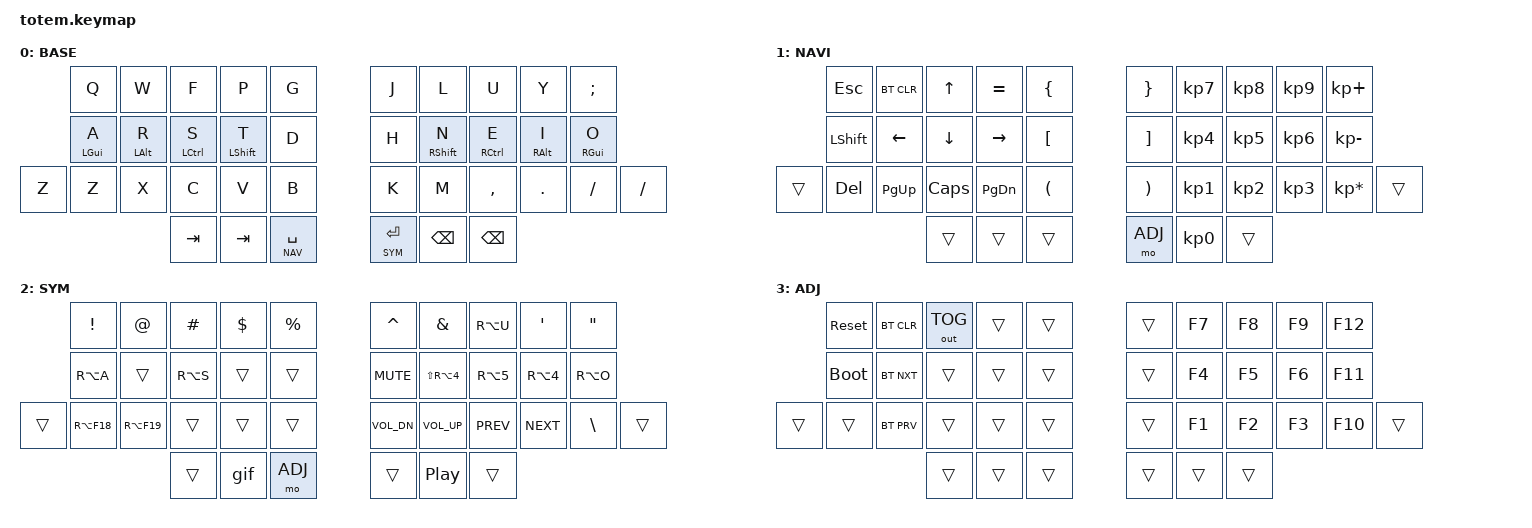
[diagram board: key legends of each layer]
//
//                                                        ▀▀▀▀▀     ▀▀▀▀▀          ▀▀█▀▀
//                                                        ▄▀▀▀▄  ▄  ▄▀▀▀▄  ▄  ▄▀▀▀▄  █  ▄▀▀▀▄
//                                                        █   █  █  █   █  █  █   █  █  █   █
//                                                         ▀▀▀   █   ▀▀▀   █   ▀▀▀   ▀   ▀▀▀
//                                                               █      ▄▄▄█▄▄▄    █   █  
//                                                               ▀      █  █  █     █▄█
//                                                             ▀▀▀▀▀    █  █  █      ▀
//                                                                      ▀  ▀  ▀
//
// ▄▄▄▄▄▄▄▄▄▄▄▄▄▄▄▄▄▄▄▄▄▄▄▄▄▄▄▄▄▄▄▄▄▄▄▄▄▄▄▄▄▄▄▄▄▄▄▄▄▄▄▄▄▄▄▄▄▄▄▄▄▄▄▄▄▄▄▄▄▄▄▄▄▄▄▄▄▄▄▄▄▄▄▄▄▄▄▄▄▄▄▄▄▄▄▄▄▄▄▄▄▄▄▄▄▄▄▄▄▄▄▄▄▄▄▄▄▄▄▄▄▄▄▄▄▄▄▄▄▄▄▄▄▄▄▄▄▄▄▄▄▄▄▄▄▄▄▄▄
       

#include <behaviors.dtsi>
#include <dt-bindings/zmk/keys.h>
#include <dt-bindings/zmk/bt.h>
#include <dt-bindings/zmk/outputs.h>

#define BASE 0
#define NAV  1
#define SYM  2
#define ADJ  3

#define LEFT_KEYS  0 1 2 3 4 10 11 12 13 14 20 21 22 23 24 25 32 33 34
#define RIGHT_KEYS 5 6 7 8 9 15 16 17 18 19 26 27 28 29 30 31 35 36 37
#define QUICK_TAP_MS 175

&mt {
  quick-tap-ms = <QUICK_TAP_MS>;
  global-quick-tap;
  flavor = "balanced";
  tapping-term-ms = <200>;
  require-prior-idle-ms = <150>;
};

/ {
    behaviors {
        lmt: left_mod_tap {
            compatible = "zmk,behavior-hold-tap";
            label = "LEFT_MOD_TAP";
            #binding-cells = <2>;
            flavor = "balanced";
            tapping-term-ms = <200>;
            quick-tap-ms = <QUICK_TAP_MS>;
            global-quick-tap;
            require-prior-idle-ms = <150>;
            hold-trigger-on-release;
            hold-trigger-key-positions = <RIGHT_KEYS>;
            bindings = <&kp>, <&kp>;
        };

        rmt: right_mod_tap {
            compatible = "zmk,behavior-hold-tap";
            label = "RIGHT_MOD_TAP";
            #binding-cells = <2>;
            flavor = "balanced";
            tapping-term-ms = <200>;
            quick-tap-ms = <QUICK_TAP_MS>;
            global-quick-tap;
            require-prior-idle-ms = <150>;
            hold-trigger-on-release;
            hold-trigger-key-positions = <LEFT_KEYS>;
            bindings = <&kp>, <&kp>;
        };
    };

    combos {
            compatible = "zmk,combos";
            combo_esc {
                timeout-ms = <50>;
                key-positions = <0 1>;
                bindings = <&kp ESC>;
            };
    };

    macros {
        gif: gif {
            label = "giphy";
            compatible = "zmk,behavior-macro";
            #binding-cells = <0>;
            bindings
                = <&macro_press &kp LSHFT>
                , <&macro_tap &kp N2>
                , <&macro_release &kp LSHFT>
                , <&macro_tap &kp G &kp I &kp F>
                ;
        };
    };

        keymap {
                compatible = "zmk,keymap";
// ▄▄▄▄▄▄▄▄▄▄▄▄▄▄▄▄▄▄▄▄▄▄▄▄▄▄▄▄▄▄▄▄▄▄▄▄▄▄▄▄▄▄▄▄▄▄▄▄▄▄▄▄▄▄▄▄▄▄▄▄▄▄▄▄▄▄▄▄▄▄▄▄▄▄▄▄▄▄▄▄▄▄▄▄▄▄▄▄▄▄▄▄▄▄▄▄▄▄▄▄▄▄▄▄▄▄▄▄▄▄▄▄▄▄▄▄▄▄▄▄▄▄▄▄▄▄▄▄▄▄▄▄▄▄▄▄▄▄▄▄▄▄▄▄▄▄▄▄▄

                base_layer {
// ┏━━━━━━━━━━━━━━━━━━━━━━━━━━━━━━━━━━━━━━━┓
label= "BASE"                              ;
// ┗━━━━━━━━━━━━━━━━━━━━━━━━━━━━━━━━━━━━━━━┛
//             ┏━━━━━━━━━━━┳━━━━━━━━━━━┳━━━━━━━━━━━┳━━━━━━━━━━━┳━━━━━━━━━━━┓   ┏━━━━━━━━━━━┳━━━━━━━━━━━┳━━━━━━━━━━━┳━━━━━━━━━━━┳━━━━━━━━━━━┓
//             ┃     Q     ┃     W     ┃     F     ┃     P     ┃     G     ┃   ┃     J     ┃     L     ┃     U     ┃     Y     ┃     ;     ┃
//             ┣━━━━━━━━━━━╋━━━━━━━━━━━╋━━━━━━━━━━━╋━━━━━━━━━━━╋━━━━━━━━━━━┫   ┣━━━━━━━━━━━╋━━━━━━━━━━━╋━━━━━━━━━━━╋━━━━━━━━━━━╋━━━━━━━━━━━┫
//             ┃     A     ┃     R     ┃     S     ┃     T     ┃     D     ┃   ┃     H     ┃     N     ┃     E     ┃     I     ┃     O     ┃
// ┏━━━━━━━━━━━╋━━━━━━━━━━━╋━━━━━━━━━━━╋━━━━━━━━━━━╋━━━━━━━━━━━╋━━━━━━━━━━━┫   ┣━━━━━━━━━━━╋━━━━━━━━━━━╋━━━━━━━━━━━╋━━━━━━━━━━━╋━━━━━━━━━━━╋━━━━━━━━━━━┓
// ┃           ┃     Z     ┃     X     ┃     C     ┃     V     ┃     B     ┃   ┃     K     ┃     M     ┃     ,     ┃     .     ┃     /     ┃           ┃
// ┗━━━━━━━━━━━┻━━━━━━━━━━━┻━━━━━━━━━━━╋━━━━━━━━━━━╋━━━━━━━━━━━╋━━━━━━━━━━━┫   ┣━━━━━━━━━━━╋━━━━━━━━━━━╋━━━━━━━━━━━╋━━━━━━━━━━━┻━━━━━━━━━━━┻━━━━━━━━━━━┛
//                                     ┃           ┃    TAB    ┃    SPC    ┃   ┃   ENTER   ┃   BSPC    ┃           ┃
//                                     ┗━━━━━━━━━━━┻━━━━━━━━━━━┻━━━━━━━━━━━┛   ┗━━━━━━━━━━━┻━━━━━━━━━━━┻━━━━━━━━━━━┛
 bindings = <
// ╷           ╷           ╷           ╷           ╷           ╷           ╷   ╷           ╷           ╷           ╷           ╷           ╷           ╷

                &kp Q       &kp W       &kp F       &kp P       &kp G           &kp J       &kp L       &kp U       &kp Y       &kp SEMI
                &lmt LGUI A &lmt LALT R &lmt LCTRL S &lmt LSHFT T &kp D          &kp H       &rmt RSHFT N &rmt RCTRL E &rmt RALT I &rmt RGUI O
    &kp Z       &kp Z       &kp X       &kp C       &kp V       &kp B           &kp K       &kp M       &kp COMMA   &kp DOT     &kp FSLH    &kp FSLH
                                        &kp TAB     &kp TAB     &lt NAV SPACE   &lt SYM RET &kp BSPC    &kp BSPC
                        >;
                };

// ▄▄▄▄▄▄▄▄▄▄▄▄▄▄▄▄▄▄▄▄▄▄▄▄▄▄▄▄▄▄▄▄▄▄▄▄▄▄▄▄▄▄▄▄▄▄▄▄▄▄▄▄▄▄▄▄▄▄▄▄▄▄▄▄▄▄▄▄▄▄▄▄▄▄▄▄▄▄▄▄▄▄▄▄▄▄▄▄▄▄▄▄▄▄▄▄▄▄▄▄▄▄▄▄▄▄▄▄▄▄▄▄▄▄▄▄▄▄▄▄▄▄▄▄▄▄▄▄▄▄▄▄▄▄▄▄▄▄▄▄▄▄▄▄▄▄▄▄▄


                nav_layer {
// ┏━━━━━━━━━━━━━━━━━━━━━━━━━━━━━━━━━━━━━━━┓
label= "NAVI"                              ;
// ┗━━━━━━━━━━━━━━━━━━━━━━━━━━━━━━━━━━━━━━━┛
//             ┏━━━━━━━━━━━┳━━━━━━━━━━━┳━━━━━━━━━━━┳━━━━━━━━━━━┳━━━━━━━━━━━┓   ┏━━━━━━━━━━━┳━━━━━━━━━━━┳━━━━━━━━━━━┳━━━━━━━━━━━┳━━━━━━━━━━━┓
//             ┃           ┃           ┃     UP    ┃           ┃     {     ┃   ┃     }     ┃     7     ┃     8     ┃     9     ┃     +     ┃
//             ┣━━━━━━━━━━━╋━━━━━━━━━━━╋━━━━━━━━━━━╋━━━━━━━━━━━╋━━━━━━━━━━━┫   ┣━━━━━━━━━━━╋━━━━━━━━━━━╋━━━━━━━━━━━╋━━━━━━━━━━━╋━━━━━━━━━━━┫
//             ┃   SHIFT   ┃   LEFT    ┃    DOWN   ┃   RIGHT   ┃     [     ┃   ┃     ]     ┃     4     ┃     5     ┃     6     ┃     -     ┃
// ┏━━━━━━━━━━━╋━━━━━━━━━━━╋━━━━━━━━━━━╋━━━━━━━━━━━╋━━━━━━━━━━━╋━━━━━━━━━━━┫   ┣━━━━━━━━━━━╋━━━━━━━━━━━╋━━━━━━━━━━━╋━━━━━━━━━━━╋━━━━━━━━━━━╋━━━━━━━━━━━┓
// ┃           ┃           ┃   P UP    ┃  C LOCK   ┃  P DOWN   ┃     (     ┃   ┃     )     ┃     1     ┃     2     ┃     3     ┃     *     ┃           ┃
// ┗━━━━━━━━━━━┻━━━━━━━━━━━┻━━━━━━━━━━━╋━━━━━━━━━━━╋━━━━━━━━━━━╋━━━━━━━━━━━┫   ┣━━━━━━━━━━━╋━━━━━━━━━━━╋━━━━━━━━━━━╋━━━━━━━━━━━┻━━━━━━━━━━━┻━━━━━━━━━━━┛
//                                     ┃           ┃    TAB    ┃    SPC    ┃   ┃    DEL    ┃     0     ┃           ┃
//                                     ┗━━━━━━━━━━━┻━━━━━━━━━━━┻━━━━━━━━━━━┛   ┗━━━━━━━━━━━┻━━━━━━━━━━━┻━━━━━━━━━━━┛
 bindings = <
// ╷           ╷           ╷           ╷           ╷           ╷           ╷   ╷           ╷           ╷           ╷           ╷           ╷           ╷

                &kp ESC     &bt BT_CLR  &kp UP      &kp EQUAL   &kp LBRC        &kp RBRC    &kp KP_N7   &kp KP_N8   &kp KP_N9   &kp KP_PLUS
                &kp LSHFT   &kp LEFT    &kp DOWN    &kp RIGHT   &kp LBKT        &kp RBKT    &kp KP_N4   &kp KP_N5   &kp KP_N6   &kp KP_MINUS
    &trans      &kp DEL     &kp PG_UP   &kp CAPS    &kp PG_DN   &kp LPAR        &kp RPAR    &kp KP_N1   &kp KP_N2   &kp KP_N3   &kp KP_MULTIPLY &trans      
                                        &trans      &trans      &trans          &mo ADJ     &kp KP_N0   &trans      
                        >;
                };

// ▄▄▄▄▄▄▄▄▄▄▄▄▄▄▄▄▄▄▄▄▄▄▄▄▄▄▄▄▄▄▄▄▄▄▄▄▄▄▄▄▄▄▄▄▄▄▄▄▄▄▄▄▄▄▄▄▄▄▄▄▄▄▄▄▄▄▄▄▄▄▄▄▄▄▄▄▄▄▄▄▄▄▄▄▄▄▄▄▄▄▄▄▄▄▄▄▄▄▄▄▄▄▄▄▄▄▄▄▄▄▄▄▄▄▄▄▄▄▄▄▄▄▄▄▄▄▄▄▄▄▄▄▄▄▄▄▄▄▄▄▄▄▄▄▄▄▄▄▄


                sim_layer {
// ┏━━━━━━━━━━━━━━━━━━━━━━━━━━━━━━━━━━━━━━━┓
label= "SYM"                               ;
// ┗━━━━━━━━━━━━━━━━━━━━━━━━━━━━━━━━━━━━━━━┛
//             ┏━━━━━━━━━━━┳━━━━━━━━━━━┳━━━━━━━━━━━┳━━━━━━━━━━━┳━━━━━━━━━━━┓   ┏━━━━━━━━━━━┳━━━━━━━━━━━┳━━━━━━━━━━━┳━━━━━━━━━━━┳━━━━━━━━━━━┓
//             ┃     !     ┃     @     ┃     #     ┃     $     ┃     %     ┃   ┃     ˆ     ┃     &     ┃     Ü     ┃     '     ┃     "     ┃
//             ┣━━━━━━━━━━━╋━━━━━━━━━━━╋━━━━━━━━━━━╋━━━━━━━━━━━╋━━━━━━━━━━━┫   ┣━━━━━━━━━━━╋━━━━━━━━━━━╋━━━━━━━━━━━╋━━━━━━━━━━━╋━━━━━━━━━━━┫
//             ┃     Ä     ┃           ┃    SZ     ┃           ┃           ┃   ┃   MUTE    ┃   YEN     ┃   EURO    ┃  POUND    ┃     Ö     ┃
// ┏━━━━━━━━━━━╋━━━━━━━━━━━╋━━━━━━━━━━━╋━━━━━━━━━━━╋━━━━━━━━━━━╋━━━━━━━━━━━┫   ┣━━━━━━━━━━━╋━━━━━━━━━━━╋━━━━━━━━━━━╋━━━━━━━━━━━╋━━━━━━━━━━━╋━━━━━━━━━━━┓
// ┃           ┃  EMAIL1   ┃  EMAIL2   ┃           ┃           ┃           ┃   ┃   VOL-    ┃   VOL+    ┃   LAST    ┃   NEXT    ┃     \     ┃           ┃
// ┗━━━━━━━━━━━┻━━━━━━━━━━━┻━━━━━━━━━━━╋━━━━━━━━━━━╋━━━━━━━━━━━╋━━━━━━━━━━━┫   ┣━━━━━━━━━━━╋━━━━━━━━━━━╋━━━━━━━━━━━╋━━━━━━━━━━━┻━━━━━━━━━━━┻━━━━━━━━━━━┛
//                                     ┃           ┃    GIF    ┃    ADJ    ┃   ┃           ┃           ┃           ┃
//                                     ┗━━━━━━━━━━━┻━━━━━━━━━━━┻━━━━━━━━━━━┛   ┗━━━━━━━━━━━┻━━━━━━━━━━━┻━━━━━━━━━━━┛
 bindings = <
// ╷           ╷           ╷           ╷           ╷           ╷           ╷   ╷           ╷           ╷           ╷           ╷           ╷           ╷

                &kp EXCL    &kp AT      &kp HASH    &kp DLLR    &kp PRCNT       &kp CARET   &kp AMPS    &kp RA(U)   &kp SQT     &kp DQT       
                &kp RA(A)   &trans      &kp RA(S)   &trans      &trans          &kp C_MUTE  &kp LS(RA(N4)) &kp RA(N5) &kp RA(N4)   &kp RA(O) 
    &trans      &kp RA(F18) &kp RA(F19) &trans      &trans      &trans          &kp C_VOL_DN &kp C_VOL_UP &kp C_PREV &kp C_NEXT  &kp BSLH   &trans         
                                        &trans      &gif        &mo ADJ         &trans      &kp C_PP    &trans      
                        >;
                };

// ▄▄▄▄▄▄▄▄▄▄▄▄▄▄▄▄▄▄▄▄▄▄▄▄▄▄▄▄▄▄▄▄▄▄▄▄▄▄▄▄▄▄▄▄▄▄▄▄▄▄▄▄▄▄▄▄▄▄▄▄▄▄▄▄▄▄▄▄▄▄▄▄▄▄▄▄▄▄▄▄▄▄▄▄▄▄▄▄▄▄▄▄▄▄▄▄▄▄▄▄▄▄▄▄▄▄▄▄▄▄▄▄▄▄▄▄▄▄▄▄▄▄▄▄▄▄▄▄▄▄▄▄▄▄▄▄▄▄▄▄▄▄▄▄▄▄▄▄▄


                adjust_layer {
// ┏━━━━━━━━━━━━━━━━━━━━━━━━━━━━━━━━━━━━━━━┓
label= "ADJ"                               ;
// ┗━━━━━━━━━━━━━━━━━━━━━━━━━━━━━━━━━━━━━━━┛
//             ┏━━━━━━━━━━━┳━━━━━━━━━━━┳━━━━━━━━━━━┳━━━━━━━━━━━┳━━━━━━━━━━━┓   ┏━━━━━━━━━━━┳━━━━━━━━━━━┳━━━━━━━━━━━┳━━━━━━━━━━━┳━━━━━━━━━━━┓
//             ┃   RESET   ┃ BT CLEAR  ┃  OUT TOG  ┃           ┃           ┃   ┃           ┃    F7     ┃    F8     ┃    F9     ┃    F12    ┃
//             ┣━━━━━━━━━━━╋━━━━━━━━━━━╋━━━━━━━━━━━╋━━━━━━━━━━━╋━━━━━━━━━━━┫   ┣━━━━━━━━━━━╋━━━━━━━━━━━╋━━━━━━━━━━━╋━━━━━━━━━━━╋━━━━━━━━━━━┫
//             ┃ BOOTLOAD  ┃ BT NEXT   ┃           ┃           ┃           ┃   ┃           ┃    F4     ┃    F5     ┃    F6     ┃    F11    ┃
// ┏━━━━━━━━━━━╋━━━━━━━━━━━╋━━━━━━━━━━━╋━━━━━━━━━━━╋━━━━━━━━━━━╋━━━━━━━━━━━┫   ┣━━━━━━━━━━━╋━━━━━━━━━━━╋━━━━━━━━━━━╋━━━━━━━━━━━╋━━━━━━━━━━━╋━━━━━━━━━━━┓
// ┃           ┃           ┃ BT PREV   ┃           ┃           ┃           ┃   ┃           ┃    F1     ┃    F2     ┃    F3     ┃    F10    ┃           ┃
// ┗━━━━━━━━━━━┻━━━━━━━━━━━┻━━━━━━━━━━━╋━━━━━━━━━━━╋━━━━━━━━━━━╋━━━━━━━━━━━┫   ┣━━━━━━━━━━━╋━━━━━━━━━━━╋━━━━━━━━━━━╋━━━━━━━━━━━┻━━━━━━━━━━━┻━━━━━━━━━━━┛
//                                     ┃           ┃           ┃           ┃   ┃           ┃           ┃           ┃
//                                     ┗━━━━━━━━━━━┻━━━━━━━━━━━┻━━━━━━━━━━━┛   ┗━━━━━━━━━━━┻━━━━━━━━━━━┻━━━━━━━━━━━┛
 bindings = <
// ╷           ╷           ╷           ╷           ╷           ╷           ╷   ╷           ╷           ╷           ╷           ╷           ╷           ╷

                &sys_reset  &bt BT_CLR &out OUT_TOG &trans      &trans          &trans      &kp F7      &kp F8      &kp F9      &kp F12
                &bootloader &bt BT_NXT  &trans      &trans      &trans          &trans      &kp F4      &kp F5      &kp F6      &kp F11  
    &trans      &trans      &bt BT_PRV  &trans      &trans      &trans          &trans      &kp F1      &kp F2      &kp F3      &kp F10     &trans         
                                        &trans      &trans      &trans          &trans      &trans      &trans      
                        >;
                };
        };
};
